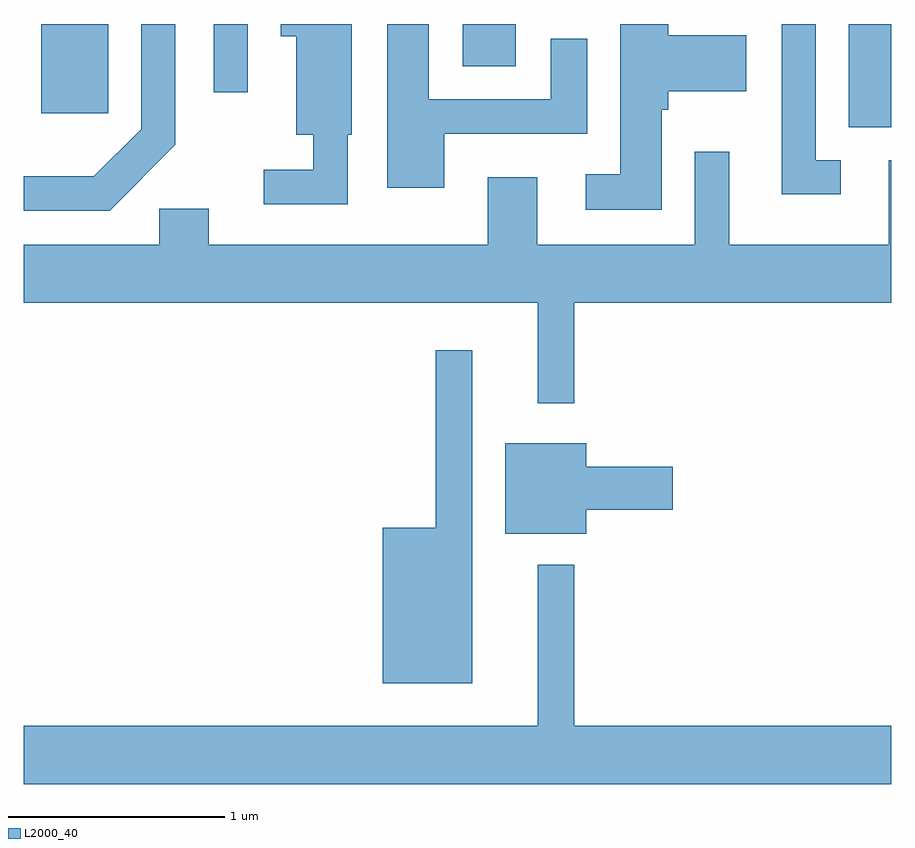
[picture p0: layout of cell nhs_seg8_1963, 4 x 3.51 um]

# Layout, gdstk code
import gdstk
lib = gdstk.Library(unit=1e-6, precision=1e-09)
def R(c, l, rs):  # rectangles x0, y0, x1, y1
    for r in rs: c.add(gdstk.rectangle(r[:2], r[2:], *l))
def P(c, l, *ps):  # polygons
    for p in ps: c.add(gdstk.Polygon(p, *l))
L2000_40 = (2000, 40)

nhs_seg8_1963 = lib.new_cell('nhs_seg8_1963')
R(nhs_seg8_1963, L2000_40, [(247.416,1863.866,247.611,1864.342), (243.691,1863.931,243.999,1864.342), (244.486,1864.028,244.644,1864.342), (245.636,1864.146,245.879,1864.342)])
P(nhs_seg8_1963, L2000_40, [(245.549,1863.836),(246.209,1863.836),(246.209,1864.273),(246.041,1864.273),(246.041,1863.994),(245.479,1863.994),(245.479,1864.342),(245.286,1864.342),(245.286,1863.586),(245.549,1863.586)],
  [(247.378,1863.714),(247.264,1863.714),(247.264,1864.342),(247.106,1864.342),(247.106,1863.556),(247.378,1863.556)],
  [(246.554,1863.946),(246.584,1863.946),(246.584,1864.031),(246.944,1864.031),(246.944,1864.289),(246.584,1864.289),(246.584,1864.342),(246.361,1864.342),(246.361,1863.649),(246.203,1863.649),(246.203,1863.486),(246.554,1863.486)],
  [(245.104,1863.831),(245.124,1863.831),(245.124,1864.342),(244.796,1864.342),(244.796,1864.286),(244.866,1864.286),(244.866,1863.831),(244.946,1863.831),(244.946,1863.669),(244.718,1863.669),(244.718,1863.511),(245.104,1863.511)],
  [(244.309,1863.784),(244.309,1864.342),(244.151,1864.342),(244.151,1863.857),(243.934,1863.639),(243.611,1863.639),(243.611,1863.481),(244.007,1863.481)],
  [(246.149,1863.056),(247.611,1863.056),(247.611,1863.714),(247.601,1863.714),(247.601,1863.324),(246.864,1863.324),(246.864,1863.753),(246.706,1863.753),(246.706,1863.324),(245.979,1863.324),(245.979,1863.634),(245.751,1863.634),(245.751,1863.324),(244.464,1863.324),(244.464,1863.489),(244.236,1863.489),(244.236,1863.324),(243.611,1863.324),(243.611,1863.056),(245.981,1863.056),(245.981,1862.593),(246.149,1862.593)],
  [(245.679,1862.838),(245.511,1862.838),(245.511,1862.019),(245.266,1862.019),(245.266,1861.301),(245.679,1861.301)],
  [(246.204,1862.101),(246.604,1862.101),(246.604,1862.299),(246.204,1862.299),(246.204,1862.409),(245.831,1862.409),(245.831,1861.991),(246.204,1861.991)],
  [(247.611,1861.104),(246.149,1861.104),(246.149,1861.848),(245.981,1861.848),(245.981,1861.104),(243.611,1861.104),(243.611,1860.836),(247.611,1860.836)])

lib.write_gds('nhs_seg8_1963.gds')
